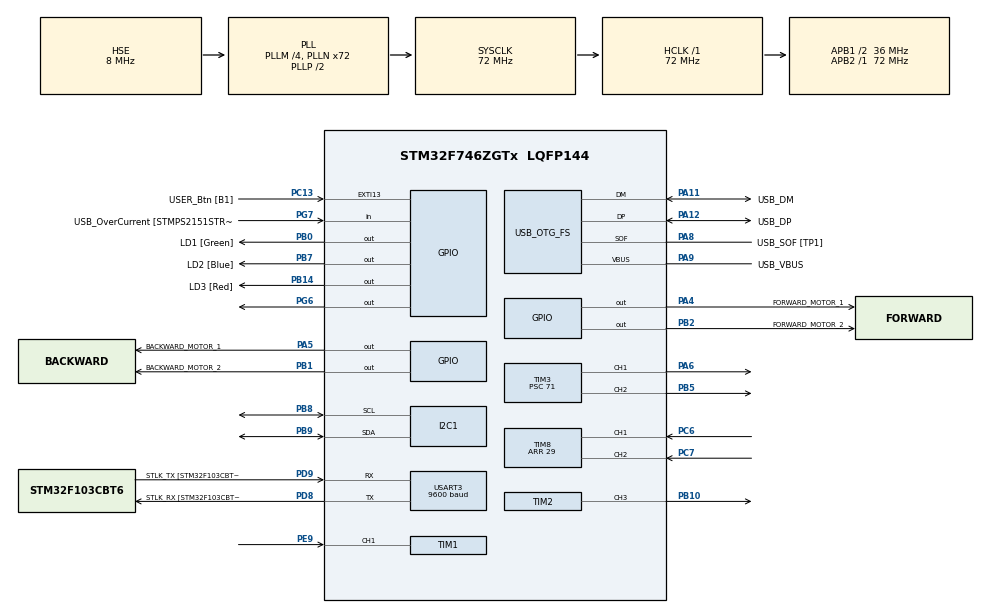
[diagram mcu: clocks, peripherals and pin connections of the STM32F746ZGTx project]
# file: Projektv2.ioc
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ARM.CMSIS.5.6.0.CMSISJjCORE=true
ARM.CMSIS.5.6.0.CMSISJjDSP=Library
I2C1.Timing=0x00808CD2
Mcu.Family=STM32F7
Mcu.Name=STM32F746ZGTx
Mcu.Package=LQFP144
NVIC.PriorityGroup=NVIC_PRIORITYGROUP_4
NVIC.TIM1_CC_IRQn=true\:0\:0\:false\:false\:true\:true\:true\:true
NVIC.TIM3_IRQn=true\:0\:0\:true\:false\:true\:true\:true\:true
NVIC.TIM4_IRQn=true\:0\:0\:true\:false\:true\:true\:true\:true
NVIC.USART3_IRQn=true\:0\:0\:false\:false\:true\:true\:true\:true
PA1.GPIO_Label=RMII_REF_CLK [LAN8742A-CZ-TR_REFCLK0]
PA1.Signal=ETH_REF_CLK
PA10.GPIO_Label=USB_ID
PA10.Signal=USB_OTG_FS_ID
PA11.GPIO_Label=USB_DM
PA11.Mode=Device_Only
PA11.Signal=USB_OTG_FS_DM
PA12.GPIO_Label=USB_DP
PA12.Mode=Device_Only
PA12.Signal=USB_OTG_FS_DP
PA13.GPIO_Label=TMS
PA13.Mode=Serial_Wire
PA13.Signal=SYS_JTMS-SWDIO
PA14.GPIO_Label=TCK
PA14.Mode=Serial_Wire
PA14.Signal=SYS_JTCK-SWCLK
PA2.GPIO_Label=RMII_MDIO [LAN8742A-CZ-TR_MDIO]
PA2.Signal=ETH_MDIO
PA4.GPIO_Label=FORWARD_MOTOR_1
PA4.Signal=GPIO_Output
PA5.GPIO_Label=BACKWARD_MOTOR_1
PA5.Signal=GPIO_Output
PA6.Signal=S_TIM3_CH1
PA7.GPIO_Label=RMII_CRS_DV [LAN8742A-CZ-TR_CRS_DV]
PA7.Signal=ETH_CRS_DV
PA8.GPIO_Label=USB_SOF [TP1]
PA8.Mode=Activate_SOF_FS
PA8.Signal=USB_OTG_FS_SOF
PA9.GPIO_Label=USB_VBUS
PA9.Mode=Activate_VBUS
PA9.Signal=USB_OTG_FS_VBUS
PB0.GPIO_Label=LD1 [Green]
PB0.Signal=GPIO_Output
PB1.GPIO_Label=BACKWARD_MOTOR_2
PB1.Signal=GPIO_Output
PB10.Signal=S_TIM2_CH3
PB13.GPIO_Label=RMII_TXD1 [LAN8742A-CZ-TR_TXD1]
PB13.Signal=ETH_TXD1
PB14.GPIO_Label=LD3 [Red]
PB14.Signal=GPIO_Output
PB2.GPIO_Label=FORWARD_MOTOR_2
PB2.Signal=GPIO_Output
PB3.GPIO_Label=SW0
PB3.Signal=SYS_JTDO-SWO
PB5.Signal=S_TIM3_CH2
PB7.GPIO_Label=LD2 [Blue]
PB7.Signal=GPIO_Output
PB8.Mode=I2C
PB8.Signal=I2C1_SCL
PB9.Mode=I2C
PB9.Signal=I2C1_SDA
PC1.GPIO_Label=RMII_MDC [LAN8742A-CZ-TR_MDC]
PC1.Signal=ETH_MDC
PC13.GPIO_Label=USER_Btn [B1]
PC13.Signal=GPXTI13
PC14/OSC32_IN.Mode=LSE-External-Oscillator
PC14/OSC32_IN.Signal=RCC_OSC32_IN
PC15/OSC32_OUT.Mode=LSE-External-Oscillator
PC15/OSC32_OUT.Signal=RCC_OSC32_OUT
PC4.GPIO_Label=RMII_RXD0 [LAN8742A-CZ-TR_RXD0]
PC4.Signal=ETH_RXD0
PC5.GPIO_Label=RMII_RXD1 [LAN8742A-CZ-TR_RXD1]
PC5.Signal=ETH_RXD1
PC6.Signal=S_TIM8_CH1
PC7.Signal=S_TIM8_CH2
PD8.GPIO_Label=STLK_RX [STM32F103CBT6_PA3]
PD8.Mode=Asynchronous
PD8.Signal=USART3_TX
PD9.GPIO_Label=STLK_TX [STM32F103CBT6_PA2]
PD9.Mode=Asynchronous
PD9.Signal=USART3_RX
PE9.Signal=S_TIM1_CH1
PG11.GPIO_Label=RMII_TX_EN [LAN8742A-CZ-TR_TXEN]
PG11.Signal=ETH_TX_EN
PG13.GPIO_Label=RMII_TXD0 [LAN8742A-CZ-TR_TXD0]
PG13.Signal=ETH_TXD0
PG6.Signal=GPIO_Output
PG7.GPIO_Label=USB_OverCurrent [STMPS2151STR_FAULT]
PG7.Signal=GPIO_Input
PH0/OSC_IN.GPIO_Label=MCO [STM32F103CBT6_PA8]
PH0/OSC_IN.Mode=HSE-External-Clock-Source
PH0/OSC_IN.Signal=RCC_OSC_IN
PH1/OSC_OUT.Mode=HSE-External-Clock-Source
PH1/OSC_OUT.Signal=RCC_OSC_OUT
ProjectManager.HeapSize=0x200
ProjectManager.StackSize=0x400
ProjectManager.TargetToolchain=STM32CubeIDE
RCC.48MHZClocksFreq_Value=24000000
RCC.AHBFreq_Value=72000000
RCC.APB1CLKDivider=RCC_HCLK_DIV2
RCC.APB1Freq_Value=36000000
RCC.APB1TimFreq_Value=72000000
RCC.APB2Freq_Value=72000000
RCC.APB2TimFreq_Value=72000000
RCC.CortexFreq_Value=72000000
RCC.HCLKFreq_Value=72000000
RCC.HSE_VALUE=8000000
RCC.HSI_VALUE=16000000
RCC.PLLM=4
RCC.PLLMUL=RCC_PLL_MUL9
RCC.PLLN=72
RCC.PLLQ=3
RCC.PRESCALERUSB=RCC_USBCLKSOURCE_PLL_DIV1_5
RCC.SYSCLKFreq_VALUE=72000000
RCC.SYSCLKSource=RCC_SYSCLKSOURCE_PLLCLK
RCC.SYSCLKSourceVirtual=RCC_SYSCLKSOURCE_PLLCLK
RCC.USBFreq_Value=48000000
RCC.VCOOutputFreq_Value=144000000
SH.S_TIM1_CH1.0=TIM1_CH1,PWM_Input_1
SH.S_TIM2_CH3.0=TIM2_CH3,PWM Generation3 CH3
SH.S_TIM3_CH1.0=TIM3_CH1,PWM Generation1 CH1
SH.S_TIM3_CH2.0=TIM3_CH2,PWM Generation2 CH2
SH.S_TIM8_CH1.0=TIM8_CH1,Encoder_Interface
SH.S_TIM8_CH2.0=TIM8_CH2,Encoder_Interface
TIM1.AutoReloadPreload=TIM_AUTORELOAD_PRELOAD_DISABLE
TIM1.Prescaler=71
TIM2.Channel-PWM\ Generation3\ CH3=TIM_CHANNEL_3
TIM2.Period=62499
TIM2.Prescaler=71
TIM2.Pulse-PWM\ Generation3\ CH3=10
TIM3.AutoReloadPreload=TIM_AUTORELOAD_PRELOAD_ENABLE
TIM3.Channel-PWM\ Generation1\ CH1=TIM_CHANNEL_1
TIM3.Channel-PWM\ Generation2\ CH2=TIM_CHANNEL_2
TIM3.Period=999
TIM3.Prescaler=71
TIM4.Period=9999
TIM4.Prescaler=71
TIM8.Period=29
USART3.BaudRate=9600
USART3.VirtualMode-Asynchronous=VM_ASYNC
USB_OTG_FS.VirtualMode=Device_Only
VP_ARM.CMSIS_VS_CMSISJjCORE_5.3.0_5.6.0.Mode=CMSISJjCORE
VP_ARM.CMSIS_VS_CMSISJjDSP_1.7.0_5.6.0.Mode=CMSISJjDSP
VP_TIM1_VS_ClockSourceINT.Mode=Internal
VP_TIM3_VS_ClockSourceINT.Mode=Internal
VP_TIM4_VS_ClockSourceINT.Mode=Internal
board=NUCLEO-F746ZG

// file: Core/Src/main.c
/* USER CODE BEGIN Header */
/**
  ******************************************************************************
  * @file           : main.c
  * @brief          : Main program body
  ******************************************************************************
  * @attention
  *
  * Copyright (c) 2023 STMicroelectronics.
  * All rights reserved.
  *
  * This software is licensed under terms that can be found in the LICENSE file
  * in the root directory of this software component.
  * If no LICENSE file comes with this software, it is provided AS-IS.
  *
  ******************************************************************************
  */
/* USER CODE END Header */
#include "main.h"
#include "i2c.h"
#include "tim.h"
#include "usart.h"
#include "usb_otg.h"
#include "gpio.h"

/* USER CODE BEGIN Includes */
#include "hcsr04.h"
#include "robot.h"
#include "motor.h"
#include "controller.h"
#include "fir_coeffs.h"
#include "arm_math.h"
#include "string.h"
#include "stdlib.h"
#include "lcd_i2c.h"
#include "stdbool.h"
#include "stdio.h"

/* USER CODE END Includes */

/* USER CODE BEGIN PTD */
#define INPUT_VALUE 15
#define MAX_PWM 1000
#define MIN_PWM 700
#define MIN_ERROR 2
#define MAX_ERROR 50
#define Ki 1.5
#define Kp 1.2
/* USER CODE END PTD */

/* USER CODE BEGIN PV */
struct lcd_disp disp;
/* USER CODE END PV */

void SystemClock_Config(void);

/* USER CODE BEGIN 0 */
char buffer[3] = {'1', '0', '0'};

struct us_sensor_str distance_sensor;
struct Controller controller;
struct Motor left_motor;
struct Motor right_motor;
struct Robot robot;
arm_fir_instance_f32 fir;
float32_t fir_state[13];

//zmienne do wyświetlacza
int count = 0;
int count_prev = 0;

void HAL_TIM_IC_CaptureCallback(TIM_HandleTypeDef *htim)
{
	if(TIM1 == htim->Instance)
	{
		uint32_t echo_us;

		echo_us = HAL_TIM_ReadCapturedValue(htim, TIM_CHANNEL_2);
		distance_sensor.distance_cm = hc_sr04_convert_us_to_cm(echo_us);
//		arm_fir_f32(&fir, &distance_sensor.distance_cm, &robot.position, 1);
		robot_linear_update(&robot, distance_sensor.distance_cm, 1/16);
	}
}

void HAL_TIM_PeriodElapsedCallback(TIM_HandleTypeDef *htim)
{
	if(TIM4 == htim->Instance)
	{
		float error = robot_error(&robot);
		float duty = controller_control_signal(&controller, error);
		motor_move(&left_motor, duty);
		motor_move(&right_motor, duty);
	}
}

void HAL_UART_RxCpltCallback(UART_HandleTypeDef *huart)
{
	if(huart->Instance == USART3)
	{
		char distance[3];

		sscanf((char*)buffer, "%c%c%c", &distance[0], &distance[1], &distance[2]);

		robot_set_end_position(&robot, atoi(distance));
		HAL_UART_Receive_IT(&huart3, (uint8_t*)buffer, strlen(buffer));
	}
}

/* USER CODE END 0 */

int main(void)
{

  /* MCU Configuration--------------------------------------------------------*/

  /* Reset of all peripherals, Initializes the Flash interface and the Systick. */
  HAL_Init();

  /* Configure the system clock */
  SystemClock_Config();

  /* Initialize all configured peripherals */
  MX_GPIO_Init();
  MX_USART3_UART_Init();
  MX_USB_OTG_FS_PCD_Init();
  MX_TIM1_Init();
  MX_TIM2_Init();
  MX_TIM3_Init();
  MX_TIM4_Init();
  MX_I2C1_Init();
  MX_TIM8_Init();
  /* USER CODE BEGIN 2 */
  arm_fir_init_f32(&fir, BL, B, fir_state, 1);
  hc_sr04_init(&distance_sensor, &htim1, &htim2, TIM_CHANNEL_3);
  robot_init(&robot, distance_sensor.distance_cm, 0);
  robot_set_end_position(&robot, INPUT_VALUE);
  controller_init(&controller, MAX_PWM, 300, MIN_PWM, MIN_ERROR, MAX_ERROR, Ki, Kp);
  motor_init(&left_motor, &htim3, TIM_CHANNEL_1, FORWARD_MOTOR_1_GPIO_Port, BACKWARD_MOTOR_1_GPIO_Port, FORWARD_MOTOR_1_Pin, BACKWARD_MOTOR_1_Pin);
  motor_init(&right_motor, &htim3, TIM_CHANNEL_2, FORWARD_MOTOR_2_GPIO_Port, BACKWARD_MOTOR_2_GPIO_Port, FORWARD_MOTOR_2_Pin, BACKWARD_MOTOR_2_Pin);

  HAL_TIM_Base_Start_IT(&htim4);
  HAL_UART_Receive_IT(&huart3, (uint8_t*)buffer, strlen(buffer));

  //zegar enkodera
  HAL_TIM_Encoder_Start(&htim8, TIM_CHANNEL_1);

  //inicjalizacja wyswietlacza
  disp.addr = (0x27 << 1);
  disp.bl = true;
  lcd_init(&disp);

  /* USER CODE END 2 */

  /* Infinite loop */
  /* USER CODE BEGIN WHILE */
  while (1)
  {
	  count = __HAL_TIM_GET_COUNTER(&htim8);
	//wyswielacz
	  if(HAL_GPIO_ReadPin(USER_Btn_GPIO_Port, USER_Btn_Pin) == 1)
	  {
			update_lcd(&disp, count, robot.end_position, robot.position, robot.end_position-robot.position, 69.0);
	  }
    /* USER CODE END WHILE */

  }
}

void SystemClock_Config(void)
{
  RCC_OscInitTypeDef RCC_OscInitStruct = {0};
  RCC_ClkInitTypeDef RCC_ClkInitStruct = {0};

  /** Configure LSE Drive Capability
  */
  HAL_PWR_EnableBkUpAccess();

  /** Configure the main internal regulator output voltage
  */
  __HAL_RCC_PWR_CLK_ENABLE();
  __HAL_PWR_VOLTAGESCALING_CONFIG(PWR_REGULATOR_VOLTAGE_SCALE3);

  /** Initializes the RCC Oscillators according to the specified parameters
  * in the RCC_OscInitTypeDef structure.
  */
  RCC_OscInitStruct.OscillatorType = RCC_OSCILLATORTYPE_HSE;
  RCC_OscInitStruct.HSEState = RCC_HSE_BYPASS;
  RCC_OscInitStruct.PLL.PLLState = RCC_PLL_ON;
  RCC_OscInitStruct.PLL.PLLSource = RCC_PLLSOURCE_HSE;
  RCC_OscInitStruct.PLL.PLLM = 4;
  RCC_OscInitStruct.PLL.PLLN = 72;
  RCC_OscInitStruct.PLL.PLLP = RCC_PLLP_DIV2;
  RCC_OscInitStruct.PLL.PLLQ = 3;
  if (HAL_RCC_OscConfig(&RCC_OscInitStruct) != HAL_OK)
  {
    Error_Handler();
  }

  /** Initializes the CPU, AHB and APB buses clocks
  */
  RCC_ClkInitStruct.ClockType = RCC_CLOCKTYPE_HCLK|RCC_CLOCKTYPE_SYSCLK
                              |RCC_CLOCKTYPE_PCLK1|RCC_CLOCKTYPE_PCLK2;
  RCC_ClkInitStruct.SYSCLKSource = RCC_SYSCLKSOURCE_PLLCLK;
  RCC_ClkInitStruct.AHBCLKDivider = RCC_SYSCLK_DIV1;
  RCC_ClkInitStruct.APB1CLKDivider = RCC_HCLK_DIV2;
  RCC_ClkInitStruct.APB2CLKDivider = RCC_HCLK_DIV1;

  if (HAL_RCC_ClockConfig(&RCC_ClkInitStruct, FLASH_LATENCY_2) != HAL_OK)
  {
    Error_Handler();
  }
}

void Error_Handler(void)
{
  __disable_irq();
  while (1)
  {
  }
}
